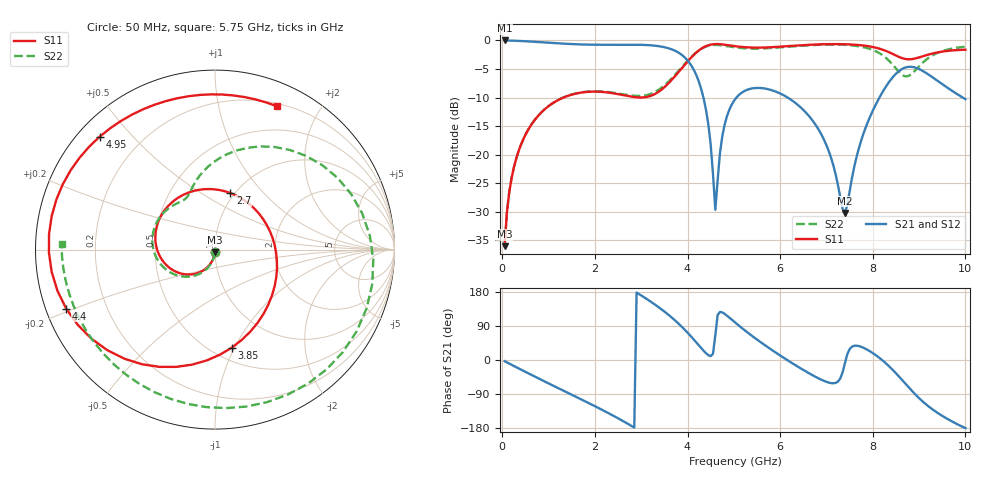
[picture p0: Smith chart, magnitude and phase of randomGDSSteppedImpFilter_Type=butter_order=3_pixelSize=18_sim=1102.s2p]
! freq	dB(S11)	phase(S11)	dB(S12)	phase(S12)
!  dB(S21)	phase(S21)	dB(S22)	phase(S22)
!S-par simulation data
#  GHz  S  DB  R 50
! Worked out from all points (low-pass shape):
!   200 points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, 50 MHz to 10 GHz, reference 50 ohm
!   highest |S21| = -0.01 dB at 50 MHz (marker M1); lowest = -30.2 dB at 7.4 GHz (marker M2)
!   |S21| within 3 dB of the highest: start of sweep to 3.943 GHz
!   lowest |S11| = -36.0 dB at 50 MHz (marker M3), VSWR 1.03, Z = 49.9 - j1.58 ohm
!   |S11| at or under -10 dB: start of sweep to 1.32 GHz
!   |S22| runs from -36.0 to -0.7 dB; largest |S21 - S12| = 0
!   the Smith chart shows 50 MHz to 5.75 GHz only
!   S11 on the Smith chart (normalised r, x): 50 MHz: 1.00, -0.03; 2.7 GHz: 0.95, +0.67; 3.85 GHz: 0.62, -0.97; 4.4 GHz: 0.06, -0.19; 4.95 GHz: 0.06, +0.41; 5.75 GHz: 0.23, +1.49
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0.05  -36.01 -92.8  -0.01 -3.2  -0.01 -3.2  -36.00 -92.5
0.2  -24.13 -103.4  -0.04 -12.7  -0.04 -12.7  -24.12 -102.2
0.5  -16.51 -123.3  -0.14 -31.3  -0.14 -31.3  -16.50 -120.3
1.75  -9.08 154.6  -0.72 -106.7  -0.72 -106.7  -9.04 171.1
2.7  -9.72 74.9  -0.74 -167.5  -0.74 -167.5  -9.54 129.5
3.4  -8.85 -16.8  -1.03 137.1  -1.03 137.1  -8.50 108.9
3.85  -5.12 -80.5  -2.37 90.8  -2.37 90.8  -4.93 77.4
4.15  -2.41 -122.5  -5.38 51.9  -5.38 51.9  -2.38 38.4
4.4  -0.99 -158.4  -12.21 17.8  -12.21 17.8  -1.07 -3.6
4.6  -0.64 174.6  -29.63 65.3  -29.63 65.3  -0.79 -38.6
4.75  -0.70 156.7  -16.80 125.6  -16.80 125.6  -0.88 -63.3
4.95  -0.92 135.6  -11.30 107.0  -11.30 107.0  -1.12 -93.1
5.05  -1.03 126.1  -10.06 96.7  -10.06 96.7  -1.23 -106.6
5.75  -1.21 66.8  -8.55 32.4  -8.55 32.4  -1.36 177.8
6.7  -0.74 -9.3  -14.03 -40.2  -14.03 -40.2  -0.82 99.7
7.4  -0.67 -60.6  -30.18 -7.5  -30.18 -7.5  -0.78 44.1
7.95  -1.07 -97.6  -13.19 22.2  -13.19 22.2  -1.52 -8.7
8.35  -2.07 -121.6  -7.30 -16.3  -7.30 -16.3  -3.55 -68.4
8.75  -3.30 -134.8  -4.65 -68.8  -4.65 -68.8  -6.27 -178.5
9.15  -2.60 -146.6  -5.69 -117.0  -5.69 -117.0  -3.40 85.7
9.55  -1.90 -166.2  -7.93 -151.1  -7.93 -151.1  -1.75 38.0
10  -1.63 169.7  -10.28 -179.7  -10.28 -179.7  -1.10 4.9
